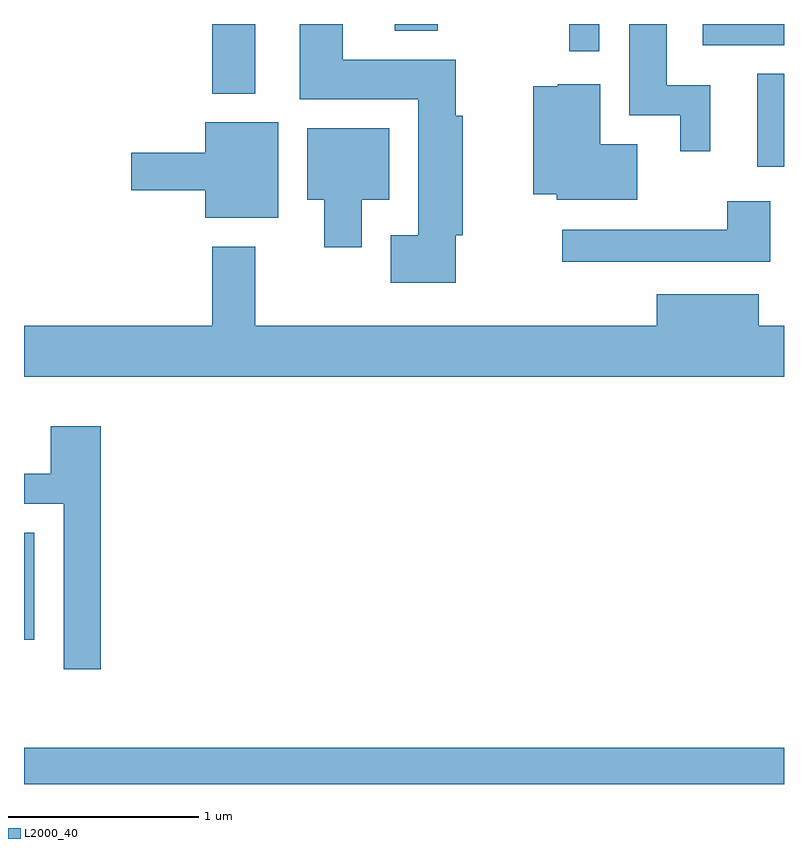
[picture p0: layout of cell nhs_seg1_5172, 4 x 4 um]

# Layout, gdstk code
import gdstk
lib = gdstk.Library(unit=1e-6, precision=1e-09)
def R(c, l, rs):  # rectangles x0, y0, x1, y1
    for r in rs: c.add(gdstk.rectangle(r[:2], r[2:], *l))
def P(c, l, *ps):  # polygons
    for p in ps: c.add(gdstk.Polygon(p, *l))
L2000_40 = (2000, 40)

nhs_seg1_5172 = lib.new_cell('nhs_seg1_5172')
R(nhs_seg1_5172, L2000_40, [(341.611,839.712,345.611,839.904), (341.611,840.471,341.664,841.034), (345.471,842.961,345.611,843.449), (342.601,843.346,342.829,843.712), (344.481,843.568,344.639,843.712), (345.183,843.601,345.611,843.712), (343.561,843.676,343.789,843.712)])
P(nhs_seg1_5172, L2000_40, [(345.224,843.389),(344.994,843.389),(344.994,843.712),(344.796,843.712),(344.796,843.231),(345.066,843.231),(345.066,843.043),(345.224,843.043)],
  [(343.884,842.601),(343.919,842.601),(343.919,843.229),(343.884,843.229),(343.884,843.524),(343.289,843.524),(343.289,843.712),(343.061,843.712),(343.061,843.316),(343.686,843.316),(343.686,842.599),(343.541,842.599),(343.541,842.351),(343.884,842.351)],
  [(344.839,843.079),(344.644,843.079),(344.644,843.394),(344.42,843.394),(344.42,843.384),(344.291,843.384),(344.291,842.816),(344.416,842.816),(344.416,842.786),(344.839,842.786)],
  [(342.949,843.194),(342.566,843.194),(342.566,843.034),(342.176,843.034),(342.176,842.836),(342.566,842.836),(342.566,842.691),(342.949,842.691)],
  [(343.389,842.786),(343.534,842.786),(343.534,843.164),(343.101,843.164),(343.101,842.786),(343.191,842.786),(343.191,842.536),(343.389,842.536)],
  [(345.539,842.779),(345.311,842.779),(345.311,842.629),(344.443,842.629),(344.443,842.461),(345.539,842.461)],
  [(345.611,842.124),(345.479,842.124),(345.479,842.289),(344.941,842.289),(344.941,842.124),(342.829,842.124),(342.829,842.539),(342.601,842.539),(342.601,842.124),(341.611,842.124),(341.611,841.856),(345.611,841.856)],
  [(342.014,841.594),(341.751,841.594),(341.751,841.344),(341.611,841.344),(341.611,841.186),(341.821,841.186),(341.821,840.316),(342.014,840.316)])

lib.write_gds('nhs_seg1_5172.gds')
